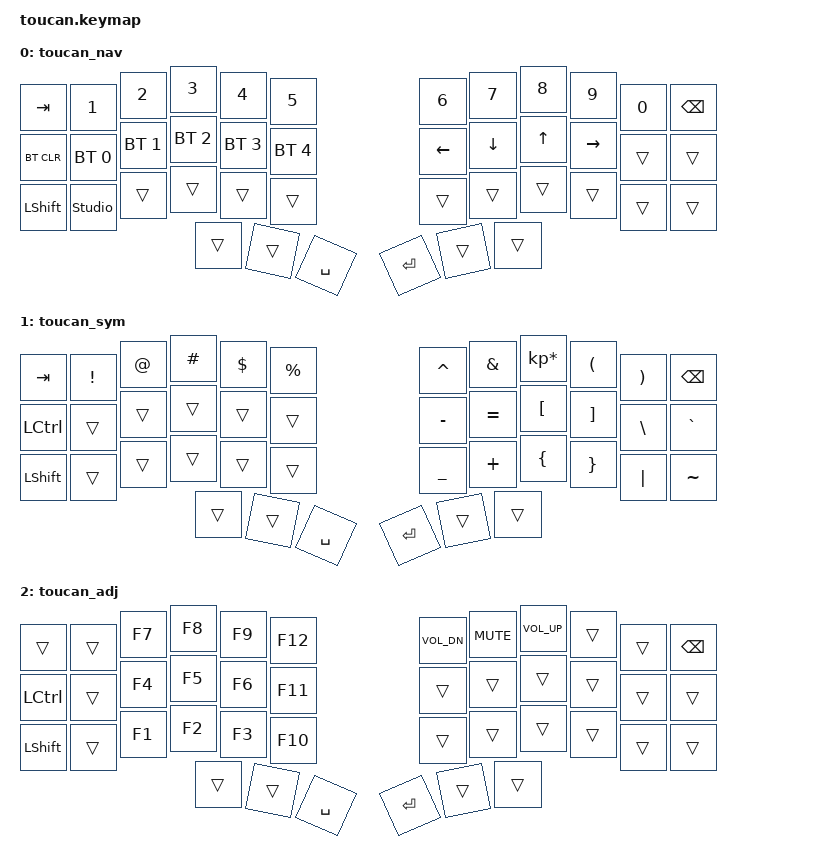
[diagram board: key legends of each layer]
/*
 * Toucan per-board keymap.
 *
 * Hosts urob's ported config (config/base.keymap + combos.dtsi + mouse.dtsi) on the
 * toucan's 42-key (3x6 + 3-thumb) layout, with a QWERTY base layer.
 *
 * Layout strategy
 * ---------------
 *   - urob's 5 logical columns map onto the toucan's INNER 5 columns. zmk-helpers'
 *     42.h labels them LT0..LT4 etc. -> positions 1-5 / 6-10 / 25-29 / 30-34, exactly
 *     where urob's keys land. The toucan's OUTER pinky column (positions 0/12/24 left,
 *     11/23/35 right) is filled below with Tab / Ctrl / Shift | Bspc / ' / Esc.
 *   - urob uses 2 thumbs/side; the toucan has 3. urob's 2 thumbs (LH/RH) sit on the
 *     inner two thumbs; the SPARE OUTER thumb on each side switches to the toucan's
 *     own NAV/SYM/ADJ layers (Bluetooth picker, ZMK Studio unlock, F-keys / media).
 *
 * Layers
 * ------
 *   urob's base.keymap defines 0..5 (Base, Nav, Fn, Num, Sys, Mouse). The toucan's
 *   native layers are appended after -> 6 (NAV), 7 (SYM), 8 (ADJ). Holding both spare
 *   outer thumbs activates NAV+SYM -> the ADJ tri-layer (mirrors stock toucan).
 *
 * First pass: leader key dropped; combos kept on urob's exact positions (may misfire
 * on some QWERTY bigrams); urob's nav/sym overlap the toucan's NAV/SYM (kept anyway).
 */

#define CONFIG_WIRELESS  // toucan is BLE: enable urob's Bluetooth keys on his Sys layer.

// Toucan's native layers, appended after urob's 0..5.
#define TOU_NAV 6
#define TOU_SYM 7
#define TOU_ADJ 8

// Map urob's logical layout (5 cols + 2 thumbs/side) onto the toucan's 42 keys.
// The outer pinky column and the spare outer thumb (toucan layer switches) are
// hardcoded here, so they persist across all of urob's layers.
#define ZMK_BASE_LAYER(name, LT, RT, LM, RM, LB, RB, LH, RH)                   \
    ZMK_LAYER(name,                                                            \
        &kp TAB     LT RT &kp BSPC                                             \
        &kp ESC     LM RM &kp SQT                                              \
        &kp LSHFT   LB RB &kp LCTRL                                              \
        &mo TOU_NAV LH RH &mo TOU_SYM                                          \
    )

#include "zmk-helpers/key-labels/42.h"

// zmk-helpers v0.3's 42.h defines the per-key labels (LT0..RH2) but not these
// aggregates (added upstream after v0.3). urob's base.keymap needs them for the
// bilateral homerow mods (hold-trigger-key-positions = <KEYS_R THUMBS> etc.).
// Guarded so a newer zmk-helpers (which already defines them) won't clash.
#ifndef KEYS_L
#define KEYS_L LT0 LT1 LT2 LT3 LT4 LT5 LM0 LM1 LM2 LM3 LM4 LM5 LB0 LB1 LB2 LB3 LB4 LB5
#define KEYS_R RT0 RT1 RT2 RT3 RT4 RT5 RM0 RM1 RM2 RM3 RM4 RM5 RB0 RB1 RB2 RB3 RB4 RB5
#define THUMBS_L LH0 LH1 LH2
#define THUMBS_R RH0 RH1 RH2
#define THUMBS THUMBS_L THUMBS_R
#endif

#include "base.keymap"

/* ───────────────────────── Toucan's native layers ─────────────────────────
 * Kept verbatim from the stock toucan keymap (with a couple of stock typos
 * fixed) so the toucan hardware controls stay reachable. Defined after
 * base.keymap, so these get layer indices 6, 7, 8. Defined as full 42-key
 * layers (NOT via ZMK_BASE_LAYER). */

ZMK_LAYER(toucan_nav,
    &kp TAB     &kp N1          &kp N2       &kp N3       &kp N4       &kp N5         &kp N6   &kp N7   &kp N8 &kp N9    &kp N0 &kp BSPC
    &bt BT_CLR  &bt BT_SEL 0    &bt BT_SEL 1 &bt BT_SEL 2 &bt BT_SEL 3 &bt BT_SEL 4   &kp LEFT &kp DOWN &kp UP &kp RIGHT &trans &trans
    &kp LSHFT   &studio_unlock  &trans       &trans       &trans       &trans         &trans   &trans   &trans &trans    &trans &trans
                                             &trans       &trans       &kp SPACE      &kp RET  &trans   &trans
)

ZMK_LAYER(toucan_sym,
    &kp TAB   &kp EXCL &kp AT &kp HASH &kp DLLR &kp PRCNT   &kp CARET &kp AMPS  &kp KP_MULTIPLY &kp LPAR &kp RPAR &kp BSPC
    &kp LCTRL &trans   &trans &trans   &trans   &trans      &kp MINUS &kp EQUAL &kp LBKT        &kp RBKT &kp BSLH &kp GRAVE
    &kp LSHFT &trans   &trans &trans   &trans   &trans      &kp UNDER &kp PLUS  &kp LBRC        &kp RBRC &kp PIPE &kp TILDE
                                       &trans   &trans       &kp SPACE   &kp RET   &trans   &trans
)

ZMK_LAYER(toucan_adj,
    &trans    &trans &kp F7 &kp F8 &kp F9 &kp F12   &kp C_VOL_DN &kp C_MUTE &kp C_VOL_UP &trans &trans &kp BSPC
    &kp LCTRL &trans &kp F4 &kp F5 &kp F6 &kp F11   &trans       &trans     &trans       &trans &trans &trans
    &kp LSHFT &trans &kp F1 &kp F2 &kp F3 &kp F10   &trans       &trans     &trans       &trans &trans &trans
                            &trans &trans &kp SPACE   &kp RET &trans &trans
)

ZMK_CONDITIONAL_LAYER(toucan_tri, TOU_NAV TOU_SYM, TOU_ADJ) // NAV + SYM --> ADJ.
